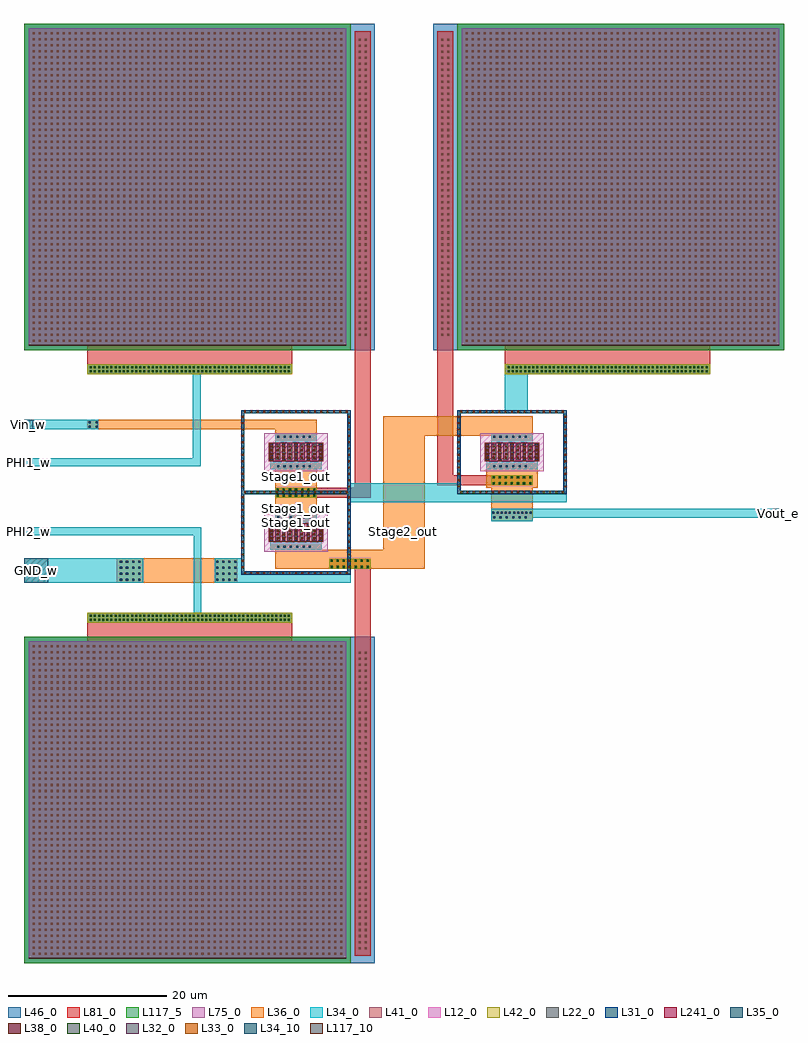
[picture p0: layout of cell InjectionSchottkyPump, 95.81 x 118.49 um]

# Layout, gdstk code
import gdstk
lib = gdstk.Library(unit=1e-6, precision=1e-09)
def R(c, l, rs):  # rectangles x0, y0, x1, y1
    for r in rs: c.add(gdstk.rectangle(r[:2], r[2:], *l))
def A(c, l, x, y, w, h, nx, ny, dx, dy):  # array of equal rectangles
    R(c, l, [(x+i*dx, y+j*dy, x+i*dx+w, y+j*dy+h) for i in range(nx) for j in range(ny)])
def P(c, l, *ps):  # polygons
    for p in ps: c.add(gdstk.Polygon(p, *l))
L12_0 = (12, 0)
L22_0 = (22, 0)
L31_0 = (31, 0)
L32_0 = (32, 0)
L33_0 = (33, 0)
L34_0 = (34, 0)
L34_10 = (34, 10)
L35_0 = (35, 0)
L36_0 = (36, 0)
L38_0 = (38, 0)
L40_0 = (40, 0)
L41_0 = (41, 0)
L42_0 = (42, 0)
L46_0 = (46, 0)
L75_0 = (75, 0)
L81_0 = (81, 0)
L117_5 = (117, 5)
L117_10 = (117, 10)
L241_0 = (241, 0)

sc_diode = lib.new_cell('sc_diode')
R(sc_diode, L12_0, [(-0.76,-1.4,7.28,3.4)])
A(sc_diode, L22_0, 0, 0, 0.36, 2, 5, 1, 1.54, 0)
A(sc_diode, L22_0, 0.64, 0, 0.62, 2, 4, 1, 1.54, 0)
P(sc_diode, L22_0, [(-3.62,-4.26),(-3.62,5.9),(-3.26,5.9),(-3.26,-3.9),(9.78,-3.9),(9.78,5.9),(-3.62,5.9),(-3.62,6.26),(10.14,6.26),(10.14,-4.26)])
P(sc_diode, L31_0, [(-3.65,-4.29),(-3.65,5.87),(-3.23,5.87),(-3.23,-3.87),(9.75,-3.87),(9.75,5.87),(-3.65,5.87),(-3.65,6.29),(10.17,6.29),(10.17,-4.29)])
A(sc_diode, L32_0, -0.03, -0.03, 0.42, 2.06, 5, 1, 1.54, 0)
A(sc_diode, L33_0, 0.07, 0.185, 0.22, 0.22, 9, 4, 0.77, 0.47)
A(sc_diode, L34_0, 0, -0.23, 0.36, 2.23, 5, 1, 1.54, 0)
A(sc_diode, L34_0, 0.64, 0, 0.62, 2.23, 4, 1, 1.54, 0)
R(sc_diode, L34_0, [(0,-0.46,6.52,-0.23), (0.64,2.23,5.88,2.46)])
R(sc_diode, L241_0, [(-0.16,-0.16,6.68,2.16)])

cap_mim = lib.new_cell('cap_mim')
A(cap_mim, L41_0, 0.49, 0.49, 0.26, 0.26, 52, 52, 0.76, 0.76)
R(cap_mim, L46_0, [(-0.6,-0.6,40.6,40.6)])
R(cap_mim, L75_0, [(0,0,40,40)])
R(cap_mim, L81_0, [(0,0,40,40)])
R(cap_mim, L117_5, [(-0.6,-0.6,40.6,40.6)])
R(cap_mim, L117_10, [(0,0,40,0.1)])

injectionschottkypump = lib.new_cell('InjectionSchottkyPump')
A(injectionschottkypump, L33_0, 27.76, 49.12, 0.22, 0.22, 17, 2, 0.8, 20.32)
A(injectionschottkypump, L33_0, 27.47, 49.85, 0.22, 0.22, 1, 12, 0, 0.8)
A(injectionschottkypump, L33_0, 40.87, 49.85, 0.22, 0.22, 1, 12, 0, 0.8)
A(injectionschottkypump, L33_0, 27.47, 60.01, 0.22, 0.22, 1, 12, 0, 0.8)
A(injectionschottkypump, L33_0, 40.87, 60.01, 0.22, 0.22, 1, 12, 0, 0.8)
A(injectionschottkypump, L33_0, 54.7, 60.01, 0.22, 0.22, 1, 12, 0, 0.8)
A(injectionschottkypump, L33_0, 68.1, 60.01, 0.22, 0.22, 1, 12, 0, 0.8)
A(injectionschottkypump, L33_0, 54.99, 69.44, 0.22, 0.22, 17, 1, 0.8, 0)
R(injectionschottkypump, L33_0, [(27.76,59.28,27.98,59.5), (27.76,59.28,27.98,59.5), (28.56,59.28,28.78,59.5), (28.56,59.28,28.78,59.5), (29.36,59.28,29.58,59.5), (29.36,59.28,29.58,59.5), (30.16,59.28,30.38,59.5), (30.16,59.28,30.38,59.5), (30.96,59.28,31.18,59.5), (30.96,59.28,31.18,59.5), (31.76,59.28,31.98,59.5), (31.76,59.28,31.98,59.5), (32.56,59.28,32.78,59.5), (32.56,59.28,32.78,59.5), (33.36,59.28,33.58,59.5), (33.36,59.28,33.58,59.5), (34.16,59.28,34.38,59.5), (34.16,59.28,34.38,59.5), (34.96,59.28,35.18,59.5), (34.96,59.28,35.18,59.5), (35.76,59.28,35.98,59.5), (35.76,59.28,35.98,59.5), (36.56,59.28,36.78,59.5), (36.56,59.28,36.78,59.5), (37.36,59.28,37.58,59.5), (37.36,59.28,37.58,59.5), (38.16,59.28,38.38,59.5), (38.16,59.28,38.38,59.5), (38.96,59.28,39.18,59.5), (38.96,59.28,39.18,59.5), (39.76,59.28,39.98,59.5), (39.76,59.28,39.98,59.5), (40.56,59.28,40.78,59.5), (40.56,59.28,40.78,59.5), (54.99,59.28,55.21,59.5), (54.99,59.28,55.21,59.5), (55.79,59.28,56.01,59.5), (55.79,59.28,56.01,59.5), (56.59,59.28,56.81,59.5), (56.59,59.28,56.81,59.5), (57.39,59.28,57.61,59.5), (57.39,59.28,57.61,59.5), (58.19,59.28,58.41,59.5), (58.19,59.28,58.41,59.5), (58.99,59.28,59.21,59.5), (58.99,59.28,59.21,59.5), (59.79,59.28,60.01,59.5), (59.79,59.28,60.01,59.5), (60.59,59.28,60.81,59.5), (60.59,59.28,60.81,59.5), (61.39,59.28,61.61,59.5), (61.39,59.28,61.61,59.5), (62.19,59.28,62.41,59.5), (62.19,59.28,62.41,59.5), (62.99,59.28,63.21,59.5), (62.99,59.28,63.21,59.5), (63.79,59.28,64.01,59.5), (63.79,59.28,64.01,59.5), (64.59,59.28,64.81,59.5), (64.59,59.28,64.81,59.5), (65.39,59.28,65.61,59.5), (65.39,59.28,65.61,59.5), (66.19,59.28,66.41,59.5), (66.19,59.28,66.41,59.5), (66.99,59.28,67.21,59.5), (66.99,59.28,67.21,59.5), (67.79,59.28,68.01,59.5), (67.79,59.28,68.01,59.5)])
A(injectionschottkypump, L34_0, 7.945, 42.965, 2.47, 1.245, 16, 2, 1.56, 31.315)
A(injectionschottkypump, L34_0, 60.605, 74.28, 2.47, 1.245, 16, 1, 1.56, 0)
R(injectionschottkypump, L34_0, [(21.365,44.18,22.365,55), (0,48.02,15,51.07), (24.01,48.02,27.375,51.07), (27.34,48.02,41.195,49.02), (27.375,48.02,41.195,48.99), (27.375,48.99,41.195,49.02), (27.37,49.02,41.19,49.44), (27.37,49.02,27.79,59.18), (40.77,49.02,41.19,59.6), (31.02,52.17,37.54,52.85), (19.435,54,22.365,55), (31.66,55.77,36.905,56.71), (31.66,55.77,36.905,56.71), (31.66,55.77,36.905,56.71), (31.66,55.77,36.905,56.71), (58.885,55.77,64.13,56.71), (58.885,55.77,64.13,56.71), (58.89,55.77,64.135,56.71), (58.89,55.77,64.135,56.71), (58.89,55.77,64.135,56.71), (58.89,55.77,64.135,56.71), (86.405,56.16,95.795,57.32), (41.095,58.15,54.695,60.545), (41.095,58.15,54.695,60.545), (54.695,58.15,68.415,59.15), (54.695,59.06,68.415,59.18), (27.37,59.18,41.19,59.6), (27.37,59.18,41.19,59.6), (27.37,59.18,27.79,69.34), (40.77,59.18,41.19,69.76), (54.6,59.18,68.42,59.6), (54.6,59.18,68.42,59.6), (54.6,59.18,55.02,69.34), (68,59.18,68.42,69.76), (31.02,62.33,37.54,63.01), (58.25,62.33,64.77,63.01), (19.335,62.7,22.265,63.7), (21.26,63.01,22.265,75.29), (31.66,65.93,36.905,66.87), (31.66,65.93,36.905,66.87), (58.885,65.93,64.13,66.87), (58.89,65.93,64.135,66.87), (58.89,65.93,64.135,66.87), (-0.005,67.37,9.385,68.53), (27.37,69.34,41.19,69.76), (54.6,69.34,68.42,69.76), (60.605,69.7,63.5,69.73), (60.605,69.73,63.495,74.28)])
R(injectionschottkypump, L34_10, [(0,48.02,3.04,51.07), (0,54,1.015,55), (94.505,56.16,95.795,57.32), (94.505,56.16,95.795,57.32), (0,62.7,1.015,63.7), (-0.005,67.37,1.175,68.53), (-0.005,67.37,1.175,68.53)])
A(injectionschottkypump, L35_0, 8.29, 43.185, 0.26, 0.26, 4, 2, 0.52, 0.52)
A(injectionschottkypump, L35_0, 9.85, 43.185, 0.26, 0.26, 4, 2, 0.52, 0.52)
A(injectionschottkypump, L35_0, 11.41, 43.185, 0.26, 0.26, 4, 2, 0.52, 0.52)
A(injectionschottkypump, L35_0, 12.97, 43.185, 0.26, 0.26, 4, 2, 0.52, 0.52)
A(injectionschottkypump, L35_0, 14.53, 43.185, 0.26, 0.26, 4, 2, 0.52, 0.52)
A(injectionschottkypump, L35_0, 16.09, 43.185, 0.26, 0.26, 4, 2, 0.52, 0.52)
A(injectionschottkypump, L35_0, 17.65, 43.185, 0.26, 0.26, 4, 2, 0.52, 0.52)
A(injectionschottkypump, L35_0, 19.21, 43.185, 0.26, 0.26, 4, 2, 0.52, 0.52)
A(injectionschottkypump, L35_0, 20.77, 43.185, 0.26, 0.26, 4, 2, 0.52, 0.52)
A(injectionschottkypump, L35_0, 22.33, 43.185, 0.26, 0.26, 4, 2, 0.52, 0.52)
A(injectionschottkypump, L35_0, 23.89, 43.185, 0.26, 0.26, 4, 2, 0.52, 0.52)
A(injectionschottkypump, L35_0, 25.45, 43.185, 0.26, 0.26, 4, 2, 0.52, 0.52)
A(injectionschottkypump, L35_0, 27.01, 43.185, 0.26, 0.26, 4, 2, 0.52, 0.52)
A(injectionschottkypump, L35_0, 28.57, 43.185, 0.26, 0.26, 4, 2, 0.52, 0.52)
A(injectionschottkypump, L35_0, 30.13, 43.185, 0.26, 0.26, 4, 2, 0.52, 0.52)
A(injectionschottkypump, L35_0, 31.69, 43.185, 0.26, 0.26, 4, 2, 0.52, 0.52)
A(injectionschottkypump, L35_0, 12.09, 48.22, 0.26, 0.26, 4, 4, 0.76, 0.76)
A(injectionschottkypump, L35_0, 24.2, 48.23, 0.26, 0.26, 3, 4, 0.76, 0.76)
A(injectionschottkypump, L35_0, 25.72, 48.23, 0.26, 0.26, 1, 4, 0, 0.76)
A(injectionschottkypump, L35_0, 31.905, 52.39, 0.26, 0.26, 6, 2, 0.8, 10.16)
A(injectionschottkypump, L35_0, 59.045, 56.705, 0.26, 0.26, 10, 1, 0.52, 0)
A(injectionschottkypump, L35_0, 59.135, 62.55, 0.26, 0.26, 6, 2, 0.8, 3.73)
A(injectionschottkypump, L35_0, 8.29, 74.525, 0.26, 0.26, 4, 2, 0.52, 0.52)
A(injectionschottkypump, L35_0, 9.85, 74.525, 0.26, 0.26, 4, 2, 0.52, 0.52)
A(injectionschottkypump, L35_0, 11.41, 74.525, 0.26, 0.26, 4, 2, 0.52, 0.52)
A(injectionschottkypump, L35_0, 12.97, 74.525, 0.26, 0.26, 4, 2, 0.52, 0.52)
A(injectionschottkypump, L35_0, 14.53, 74.525, 0.26, 0.26, 4, 2, 0.52, 0.52)
A(injectionschottkypump, L35_0, 16.09, 74.525, 0.26, 0.26, 4, 2, 0.52, 0.52)
A(injectionschottkypump, L35_0, 17.65, 74.525, 0.26, 0.26, 4, 2, 0.52, 0.52)
A(injectionschottkypump, L35_0, 19.21, 74.525, 0.26, 0.26, 4, 2, 0.52, 0.52)
A(injectionschottkypump, L35_0, 20.77, 74.525, 0.26, 0.26, 4, 2, 0.52, 0.52)
A(injectionschottkypump, L35_0, 22.33, 74.525, 0.26, 0.26, 4, 2, 0.52, 0.52)
A(injectionschottkypump, L35_0, 23.89, 74.525, 0.26, 0.26, 4, 2, 0.52, 0.52)
A(injectionschottkypump, L35_0, 25.45, 74.525, 0.26, 0.26, 4, 2, 0.52, 0.52)
A(injectionschottkypump, L35_0, 27.01, 74.525, 0.26, 0.26, 4, 2, 0.52, 0.52)
A(injectionschottkypump, L35_0, 28.57, 74.525, 0.26, 0.26, 4, 2, 0.52, 0.52)
A(injectionschottkypump, L35_0, 30.13, 74.525, 0.26, 0.26, 4, 2, 0.52, 0.52)
A(injectionschottkypump, L35_0, 31.69, 74.525, 0.26, 0.26, 4, 2, 0.52, 0.52)
A(injectionschottkypump, L35_0, 60.95, 74.525, 0.26, 0.26, 4, 2, 0.52, 0.52)
A(injectionschottkypump, L35_0, 62.51, 74.525, 0.26, 0.26, 4, 2, 0.52, 0.52)
A(injectionschottkypump, L35_0, 64.07, 74.525, 0.26, 0.26, 4, 2, 0.52, 0.52)
A(injectionschottkypump, L35_0, 65.63, 74.525, 0.26, 0.26, 4, 2, 0.52, 0.52)
A(injectionschottkypump, L35_0, 67.19, 74.525, 0.26, 0.26, 4, 2, 0.52, 0.52)
A(injectionschottkypump, L35_0, 68.75, 74.525, 0.26, 0.26, 4, 2, 0.52, 0.52)
A(injectionschottkypump, L35_0, 70.31, 74.525, 0.26, 0.26, 4, 2, 0.52, 0.52)
A(injectionschottkypump, L35_0, 71.87, 74.525, 0.26, 0.26, 4, 2, 0.52, 0.52)
A(injectionschottkypump, L35_0, 73.43, 74.525, 0.26, 0.26, 4, 2, 0.52, 0.52)
A(injectionschottkypump, L35_0, 74.99, 74.525, 0.26, 0.26, 4, 2, 0.52, 0.52)
A(injectionschottkypump, L35_0, 76.55, 74.525, 0.26, 0.26, 4, 2, 0.52, 0.52)
A(injectionschottkypump, L35_0, 78.11, 74.525, 0.26, 0.26, 4, 2, 0.52, 0.52)
A(injectionschottkypump, L35_0, 79.67, 74.525, 0.26, 0.26, 4, 2, 0.52, 0.52)
A(injectionschottkypump, L35_0, 81.23, 74.525, 0.26, 0.26, 4, 2, 0.52, 0.52)
A(injectionschottkypump, L35_0, 82.79, 74.525, 0.26, 0.26, 4, 2, 0.52, 0.52)
A(injectionschottkypump, L35_0, 84.35, 74.525, 0.26, 0.26, 4, 2, 0.52, 0.52)
R(injectionschottkypump, L35_0, [(8.29,43.705,8.55,43.965), (9.85,43.705,10.11,43.965), (11.41,43.705,11.67,43.965), (12.97,43.705,13.23,43.965), (14.53,43.705,14.79,43.965), (16.09,43.705,16.35,43.965), (17.65,43.705,17.91,43.965), (19.21,43.705,19.47,43.965), (20.77,43.705,21.03,43.965), (22.33,43.705,22.59,43.965), (23.89,43.705,24.15,43.965), (25.45,43.705,25.71,43.965), (27.01,43.705,27.27,43.965), (28.57,43.705,28.83,43.965), (30.13,43.705,30.39,43.965), (31.69,43.705,31.95,43.965), (26.48,48.23,26.74,48.49), (26.48,48.23,26.74,48.49), (26.48,48.99,26.74,49.25), (26.48,48.99,26.74,49.25), (26.48,49.75,26.74,50.01), (26.48,49.75,26.74,50.01), (26.48,50.51,26.74,50.77), (26.48,50.51,26.74,50.77), (31.91,56.12,32.17,56.38), (31.91,56.12,32.17,56.38), (32.71,56.12,32.97,56.38), (32.71,56.12,32.97,56.38), (33.51,56.12,33.77,56.38), (33.51,56.12,33.77,56.38), (34.31,56.12,34.57,56.38), (34.31,56.12,34.57,56.38), (35.11,56.12,35.37,56.38), (35.11,56.12,35.37,56.38), (35.91,56.12,36.17,56.38), (35.91,56.12,36.17,56.38), (59.135,56.12,59.395,56.38), (59.135,56.12,59.395,56.38), (59.935,56.12,60.195,56.38), (59.935,56.12,60.195,56.38), (60.735,56.12,60.995,56.38), (60.735,56.12,60.995,56.38), (61.535,56.12,61.795,56.38), (61.535,56.12,61.795,56.38), (62.335,56.12,62.595,56.38), (62.335,56.12,62.595,56.38), (63.135,56.12,63.395,56.38), (63.135,56.12,63.395,56.38), (31.91,66.28,32.17,66.54), (31.91,66.28,32.17,66.54), (32.71,66.28,32.97,66.54), (32.71,66.28,32.97,66.54), (33.51,66.28,33.77,66.54), (33.51,66.28,33.77,66.54), (34.31,66.28,34.57,66.54), (34.31,66.28,34.57,66.54), (35.11,66.28,35.37,66.54), (35.11,66.28,35.37,66.54), (35.91,66.28,36.17,66.54), (35.91,66.28,36.17,66.54), (8.175,67.53,8.435,67.79), (9.015,67.53,9.275,67.79), (8.175,68.07,8.435,68.33), (9.015,68.07,9.275,68.33), (8.29,74.525,8.55,74.785), (9.85,74.525,10.11,74.785), (11.41,74.525,11.67,74.785), (12.97,74.525,13.23,74.785), (14.53,74.525,14.79,74.785), (16.09,74.525,16.35,74.785), (17.65,74.525,17.91,74.785), (19.21,74.525,19.47,74.785), (20.77,74.525,21.03,74.785), (22.33,74.525,22.59,74.785), (23.89,74.525,24.15,74.785), (25.45,74.525,25.71,74.785), (27.01,74.525,27.27,74.785), (28.57,74.525,28.83,74.785), (30.13,74.525,30.39,74.785), (31.69,74.525,31.95,74.785), (60.95,74.525,61.21,74.785), (62.51,74.525,62.77,74.785), (64.07,74.525,64.33,74.785), (65.63,74.525,65.89,74.785), (67.19,74.525,67.45,74.785), (68.75,74.525,69.01,74.785), (70.31,74.525,70.57,74.785), (71.87,74.525,72.13,74.785), (73.43,74.525,73.69,74.785), (74.99,74.525,75.25,74.785), (76.55,74.525,76.81,74.785), (78.11,74.525,78.37,74.785), (79.67,74.525,79.93,74.785), (81.23,74.525,81.49,74.785), (82.79,74.525,83.05,74.785), (84.35,74.525,84.61,74.785)])
A(injectionschottkypump, L36_0, 7.945, 42.965, 2.47, 1.245, 16, 2, 1.56, 31.315)
A(injectionschottkypump, L36_0, 60.605, 74.28, 2.47, 1.245, 16, 1, 1.56, 0)
R(injectionschottkypump, L36_0, [(11.68,48.02,26.9,51.07), (31.665,49.73,36.905,52.17), (31.665,49.73,36.905,52.17), (36.905,49.73,45.275,52.17), (36.905,49.73,45.275,52.17), (45.275,49.73,50.515,68.99), (45.275,49.73,50.515,68.99), (31.02,52.17,37.54,52.85), (31.665,55.77,36.9,56.69), (31.665,55.77,36.9,56.69), (58.89,55.77,64.125,56.69), (58.89,55.77,64.125,56.69), (58.885,56.16,64.125,60.28), (31.665,56.39,36.905,62.33), (31.665,56.39,36.905,62.33), (58.885,56.39,64.125,62.33), (58.245,59.995,64.765,62.33), (31.02,62.33,37.54,63.01), (58.25,62.33,64.77,63.01), (31.665,65.93,36.9,66.85), (31.665,65.93,36.9,66.85), (58.89,65.93,64.125,66.85), (31.665,66.55,36.905,68.53), (31.665,66.55,36.905,68.53), (50.515,66.55,58.885,68.99), (50.515,66.55,58.885,68.99), (58.885,66.55,64.125,68.99), (58.885,66.55,64.125,68.99), (7.995,67.37,31.665,68.53)])
A(injectionschottkypump, L38_0, 8.29, 43.185, 0.26, 0.26, 4, 2, 0.52, 0.52)
A(injectionschottkypump, L38_0, 9.85, 43.185, 0.26, 0.26, 4, 2, 0.52, 0.52)
A(injectionschottkypump, L38_0, 11.41, 43.185, 0.26, 0.26, 4, 2, 0.52, 0.52)
A(injectionschottkypump, L38_0, 12.97, 43.185, 0.26, 0.26, 4, 2, 0.52, 0.52)
A(injectionschottkypump, L38_0, 14.53, 43.185, 0.26, 0.26, 4, 2, 0.52, 0.52)
A(injectionschottkypump, L38_0, 16.09, 43.185, 0.26, 0.26, 4, 2, 0.52, 0.52)
A(injectionschottkypump, L38_0, 17.65, 43.185, 0.26, 0.26, 4, 2, 0.52, 0.52)
A(injectionschottkypump, L38_0, 19.21, 43.185, 0.26, 0.26, 4, 2, 0.52, 0.52)
A(injectionschottkypump, L38_0, 20.77, 43.185, 0.26, 0.26, 4, 2, 0.52, 0.52)
A(injectionschottkypump, L38_0, 22.33, 43.185, 0.26, 0.26, 4, 2, 0.52, 0.52)
A(injectionschottkypump, L38_0, 23.89, 43.185, 0.26, 0.26, 4, 2, 0.52, 0.52)
A(injectionschottkypump, L38_0, 25.45, 43.185, 0.26, 0.26, 4, 2, 0.52, 0.52)
A(injectionschottkypump, L38_0, 27.01, 43.185, 0.26, 0.26, 4, 2, 0.52, 0.52)
A(injectionschottkypump, L38_0, 28.57, 43.185, 0.26, 0.26, 4, 2, 0.52, 0.52)
A(injectionschottkypump, L38_0, 30.13, 43.185, 0.26, 0.26, 4, 2, 0.52, 0.52)
A(injectionschottkypump, L38_0, 31.69, 43.185, 0.26, 0.26, 4, 2, 0.52, 0.52)
A(injectionschottkypump, L38_0, 38.665, 49.85, 0.26, 0.26, 7, 2, 0.76, 0.76)
A(injectionschottkypump, L38_0, 31.875, 58.85, 0.26, 0.26, 7, 2, 0.76, 0.76)
A(injectionschottkypump, L38_0, 59.095, 60.4, 0.26, 0.26, 7, 2, 0.76, 0.76)
A(injectionschottkypump, L38_0, 8.29, 74.525, 0.26, 0.26, 4, 2, 0.52, 0.52)
A(injectionschottkypump, L38_0, 9.85, 74.525, 0.26, 0.26, 4, 2, 0.52, 0.52)
A(injectionschottkypump, L38_0, 11.41, 74.525, 0.26, 0.26, 4, 2, 0.52, 0.52)
A(injectionschottkypump, L38_0, 12.97, 74.525, 0.26, 0.26, 4, 2, 0.52, 0.52)
A(injectionschottkypump, L38_0, 14.53, 74.525, 0.26, 0.26, 4, 2, 0.52, 0.52)
A(injectionschottkypump, L38_0, 16.09, 74.525, 0.26, 0.26, 4, 2, 0.52, 0.52)
A(injectionschottkypump, L38_0, 17.65, 74.525, 0.26, 0.26, 4, 2, 0.52, 0.52)
A(injectionschottkypump, L38_0, 19.21, 74.525, 0.26, 0.26, 4, 2, 0.52, 0.52)
A(injectionschottkypump, L38_0, 20.77, 74.525, 0.26, 0.26, 4, 2, 0.52, 0.52)
A(injectionschottkypump, L38_0, 22.33, 74.525, 0.26, 0.26, 4, 2, 0.52, 0.52)
A(injectionschottkypump, L38_0, 23.89, 74.525, 0.26, 0.26, 4, 2, 0.52, 0.52)
A(injectionschottkypump, L38_0, 25.45, 74.525, 0.26, 0.26, 4, 2, 0.52, 0.52)
A(injectionschottkypump, L38_0, 27.01, 74.525, 0.26, 0.26, 4, 2, 0.52, 0.52)
A(injectionschottkypump, L38_0, 28.57, 74.525, 0.26, 0.26, 4, 2, 0.52, 0.52)
A(injectionschottkypump, L38_0, 30.13, 74.525, 0.26, 0.26, 4, 2, 0.52, 0.52)
A(injectionschottkypump, L38_0, 31.69, 74.525, 0.26, 0.26, 4, 2, 0.52, 0.52)
A(injectionschottkypump, L38_0, 60.95, 74.525, 0.26, 0.26, 4, 2, 0.52, 0.52)
A(injectionschottkypump, L38_0, 62.51, 74.525, 0.26, 0.26, 4, 2, 0.52, 0.52)
A(injectionschottkypump, L38_0, 64.07, 74.525, 0.26, 0.26, 4, 2, 0.52, 0.52)
A(injectionschottkypump, L38_0, 65.63, 74.525, 0.26, 0.26, 4, 2, 0.52, 0.52)
A(injectionschottkypump, L38_0, 67.19, 74.525, 0.26, 0.26, 4, 2, 0.52, 0.52)
A(injectionschottkypump, L38_0, 68.75, 74.525, 0.26, 0.26, 4, 2, 0.52, 0.52)
A(injectionschottkypump, L38_0, 70.31, 74.525, 0.26, 0.26, 4, 2, 0.52, 0.52)
A(injectionschottkypump, L38_0, 71.87, 74.525, 0.26, 0.26, 4, 2, 0.52, 0.52)
A(injectionschottkypump, L38_0, 73.43, 74.525, 0.26, 0.26, 4, 2, 0.52, 0.52)
A(injectionschottkypump, L38_0, 74.99, 74.525, 0.26, 0.26, 4, 2, 0.52, 0.52)
A(injectionschottkypump, L38_0, 76.55, 74.525, 0.26, 0.26, 4, 2, 0.52, 0.52)
A(injectionschottkypump, L38_0, 78.11, 74.525, 0.26, 0.26, 4, 2, 0.52, 0.52)
A(injectionschottkypump, L38_0, 79.67, 74.525, 0.26, 0.26, 4, 2, 0.52, 0.52)
A(injectionschottkypump, L38_0, 81.23, 74.525, 0.26, 0.26, 4, 2, 0.52, 0.52)
A(injectionschottkypump, L38_0, 82.79, 74.525, 0.26, 0.26, 4, 2, 0.52, 0.52)
A(injectionschottkypump, L38_0, 84.35, 74.525, 0.26, 0.26, 4, 2, 0.52, 0.52)
A(injectionschottkypump, L40_0, 8.29, 43.185, 0.26, 0.26, 4, 2, 0.52, 0.52)
A(injectionschottkypump, L40_0, 9.85, 43.185, 0.26, 0.26, 4, 2, 0.52, 0.52)
A(injectionschottkypump, L40_0, 11.41, 43.185, 0.26, 0.26, 4, 2, 0.52, 0.52)
A(injectionschottkypump, L40_0, 12.97, 43.185, 0.26, 0.26, 4, 2, 0.52, 0.52)
A(injectionschottkypump, L40_0, 14.53, 43.185, 0.26, 0.26, 4, 2, 0.52, 0.52)
A(injectionschottkypump, L40_0, 16.09, 43.185, 0.26, 0.26, 4, 2, 0.52, 0.52)
A(injectionschottkypump, L40_0, 17.65, 43.185, 0.26, 0.26, 4, 2, 0.52, 0.52)
A(injectionschottkypump, L40_0, 19.21, 43.185, 0.26, 0.26, 4, 2, 0.52, 0.52)
A(injectionschottkypump, L40_0, 20.77, 43.185, 0.26, 0.26, 4, 2, 0.52, 0.52)
A(injectionschottkypump, L40_0, 22.33, 43.185, 0.26, 0.26, 4, 2, 0.52, 0.52)
A(injectionschottkypump, L40_0, 23.89, 43.185, 0.26, 0.26, 4, 2, 0.52, 0.52)
A(injectionschottkypump, L40_0, 25.45, 43.185, 0.26, 0.26, 4, 2, 0.52, 0.52)
A(injectionschottkypump, L40_0, 27.01, 43.185, 0.26, 0.26, 4, 2, 0.52, 0.52)
A(injectionschottkypump, L40_0, 28.57, 43.185, 0.26, 0.26, 4, 2, 0.52, 0.52)
A(injectionschottkypump, L40_0, 30.13, 43.185, 0.26, 0.26, 4, 2, 0.52, 0.52)
A(injectionschottkypump, L40_0, 31.69, 43.185, 0.26, 0.26, 4, 2, 0.52, 0.52)
A(injectionschottkypump, L40_0, 38.665, 49.85, 0.26, 0.26, 7, 2, 0.76, 0.76)
A(injectionschottkypump, L40_0, 31.875, 58.85, 0.26, 0.26, 7, 2, 0.76, 0.76)
A(injectionschottkypump, L40_0, 59.095, 60.4, 0.26, 0.26, 7, 2, 0.76, 0.76)
A(injectionschottkypump, L40_0, 8.29, 74.525, 0.26, 0.26, 4, 2, 0.52, 0.52)
A(injectionschottkypump, L40_0, 9.85, 74.525, 0.26, 0.26, 4, 2, 0.52, 0.52)
A(injectionschottkypump, L40_0, 11.41, 74.525, 0.26, 0.26, 4, 2, 0.52, 0.52)
A(injectionschottkypump, L40_0, 12.97, 74.525, 0.26, 0.26, 4, 2, 0.52, 0.52)
A(injectionschottkypump, L40_0, 14.53, 74.525, 0.26, 0.26, 4, 2, 0.52, 0.52)
A(injectionschottkypump, L40_0, 16.09, 74.525, 0.26, 0.26, 4, 2, 0.52, 0.52)
A(injectionschottkypump, L40_0, 17.65, 74.525, 0.26, 0.26, 4, 2, 0.52, 0.52)
A(injectionschottkypump, L40_0, 19.21, 74.525, 0.26, 0.26, 4, 2, 0.52, 0.52)
A(injectionschottkypump, L40_0, 20.77, 74.525, 0.26, 0.26, 4, 2, 0.52, 0.52)
A(injectionschottkypump, L40_0, 22.33, 74.525, 0.26, 0.26, 4, 2, 0.52, 0.52)
A(injectionschottkypump, L40_0, 23.89, 74.525, 0.26, 0.26, 4, 2, 0.52, 0.52)
A(injectionschottkypump, L40_0, 25.45, 74.525, 0.26, 0.26, 4, 2, 0.52, 0.52)
A(injectionschottkypump, L40_0, 27.01, 74.525, 0.26, 0.26, 4, 2, 0.52, 0.52)
A(injectionschottkypump, L40_0, 28.57, 74.525, 0.26, 0.26, 4, 2, 0.52, 0.52)
A(injectionschottkypump, L40_0, 30.13, 74.525, 0.26, 0.26, 4, 2, 0.52, 0.52)
A(injectionschottkypump, L40_0, 31.69, 74.525, 0.26, 0.26, 4, 2, 0.52, 0.52)
A(injectionschottkypump, L40_0, 60.95, 74.525, 0.26, 0.26, 4, 2, 0.52, 0.52)
A(injectionschottkypump, L40_0, 62.51, 74.525, 0.26, 0.26, 4, 2, 0.52, 0.52)
A(injectionschottkypump, L40_0, 64.07, 74.525, 0.26, 0.26, 4, 2, 0.52, 0.52)
A(injectionschottkypump, L40_0, 65.63, 74.525, 0.26, 0.26, 4, 2, 0.52, 0.52)
A(injectionschottkypump, L40_0, 67.19, 74.525, 0.26, 0.26, 4, 2, 0.52, 0.52)
A(injectionschottkypump, L40_0, 68.75, 74.525, 0.26, 0.26, 4, 2, 0.52, 0.52)
A(injectionschottkypump, L40_0, 70.31, 74.525, 0.26, 0.26, 4, 2, 0.52, 0.52)
A(injectionschottkypump, L40_0, 71.87, 74.525, 0.26, 0.26, 4, 2, 0.52, 0.52)
A(injectionschottkypump, L40_0, 73.43, 74.525, 0.26, 0.26, 4, 2, 0.52, 0.52)
A(injectionschottkypump, L40_0, 74.99, 74.525, 0.26, 0.26, 4, 2, 0.52, 0.52)
A(injectionschottkypump, L40_0, 76.55, 74.525, 0.26, 0.26, 4, 2, 0.52, 0.52)
A(injectionschottkypump, L40_0, 78.11, 74.525, 0.26, 0.26, 4, 2, 0.52, 0.52)
A(injectionschottkypump, L40_0, 79.67, 74.525, 0.26, 0.26, 4, 2, 0.52, 0.52)
A(injectionschottkypump, L40_0, 81.23, 74.525, 0.26, 0.26, 4, 2, 0.52, 0.52)
A(injectionschottkypump, L40_0, 82.79, 74.525, 0.26, 0.26, 4, 2, 0.52, 0.52)
A(injectionschottkypump, L40_0, 84.35, 74.525, 0.26, 0.26, 4, 2, 0.52, 0.52)
A(injectionschottkypump, L41_0, 42.19, 1.81, 0.26, 0.26, 1, 50, 0, 0.76)
A(injectionschottkypump, L41_0, 42.95, 1.81, 0.26, 0.26, 1, 50, 0, 0.76)
A(injectionschottkypump, L41_0, 8.29, 43.185, 0.26, 0.26, 4, 2, 0.52, 0.52)
A(injectionschottkypump, L41_0, 9.85, 43.185, 0.26, 0.26, 4, 2, 0.52, 0.52)
A(injectionschottkypump, L41_0, 11.41, 43.185, 0.26, 0.26, 4, 2, 0.52, 0.52)
A(injectionschottkypump, L41_0, 12.97, 43.185, 0.26, 0.26, 4, 2, 0.52, 0.52)
A(injectionschottkypump, L41_0, 14.53, 43.185, 0.26, 0.26, 4, 2, 0.52, 0.52)
A(injectionschottkypump, L41_0, 16.09, 43.185, 0.26, 0.26, 4, 2, 0.52, 0.52)
A(injectionschottkypump, L41_0, 17.65, 43.185, 0.26, 0.26, 4, 2, 0.52, 0.52)
A(injectionschottkypump, L41_0, 19.21, 43.185, 0.26, 0.26, 4, 2, 0.52, 0.52)
A(injectionschottkypump, L41_0, 20.77, 43.185, 0.26, 0.26, 4, 2, 0.52, 0.52)
A(injectionschottkypump, L41_0, 22.33, 43.185, 0.26, 0.26, 4, 2, 0.52, 0.52)
A(injectionschottkypump, L41_0, 23.89, 43.185, 0.26, 0.26, 4, 2, 0.52, 0.52)
A(injectionschottkypump, L41_0, 25.45, 43.185, 0.26, 0.26, 4, 2, 0.52, 0.52)
A(injectionschottkypump, L41_0, 27.01, 43.185, 0.26, 0.26, 4, 2, 0.52, 0.52)
A(injectionschottkypump, L41_0, 28.57, 43.185, 0.26, 0.26, 4, 2, 0.52, 0.52)
A(injectionschottkypump, L41_0, 30.13, 43.185, 0.26, 0.26, 4, 2, 0.52, 0.52)
A(injectionschottkypump, L41_0, 31.69, 43.185, 0.26, 0.26, 4, 2, 0.52, 0.52)
A(injectionschottkypump, L41_0, 38.665, 49.85, 0.26, 0.26, 7, 2, 0.76, 0.76)
A(injectionschottkypump, L41_0, 31.875, 58.85, 0.26, 0.26, 7, 2, 0.76, 0.76)
A(injectionschottkypump, L41_0, 59.095, 60.4, 0.26, 0.26, 7, 2, 0.76, 0.76)
A(injectionschottkypump, L41_0, 8.29, 74.525, 0.26, 0.26, 4, 2, 0.52, 0.52)
A(injectionschottkypump, L41_0, 9.85, 74.525, 0.26, 0.26, 4, 2, 0.52, 0.52)
A(injectionschottkypump, L41_0, 11.41, 74.525, 0.26, 0.26, 4, 2, 0.52, 0.52)
A(injectionschottkypump, L41_0, 12.97, 74.525, 0.26, 0.26, 4, 2, 0.52, 0.52)
A(injectionschottkypump, L41_0, 14.53, 74.525, 0.26, 0.26, 4, 2, 0.52, 0.52)
A(injectionschottkypump, L41_0, 16.09, 74.525, 0.26, 0.26, 4, 2, 0.52, 0.52)
A(injectionschottkypump, L41_0, 17.65, 74.525, 0.26, 0.26, 4, 2, 0.52, 0.52)
A(injectionschottkypump, L41_0, 19.21, 74.525, 0.26, 0.26, 4, 2, 0.52, 0.52)
A(injectionschottkypump, L41_0, 20.77, 74.525, 0.26, 0.26, 4, 2, 0.52, 0.52)
A(injectionschottkypump, L41_0, 22.33, 74.525, 0.26, 0.26, 4, 2, 0.52, 0.52)
A(injectionschottkypump, L41_0, 23.89, 74.525, 0.26, 0.26, 4, 2, 0.52, 0.52)
A(injectionschottkypump, L41_0, 25.45, 74.525, 0.26, 0.26, 4, 2, 0.52, 0.52)
A(injectionschottkypump, L41_0, 27.01, 74.525, 0.26, 0.26, 4, 2, 0.52, 0.52)
A(injectionschottkypump, L41_0, 28.57, 74.525, 0.26, 0.26, 4, 2, 0.52, 0.52)
A(injectionschottkypump, L41_0, 30.13, 74.525, 0.26, 0.26, 4, 2, 0.52, 0.52)
A(injectionschottkypump, L41_0, 31.69, 74.525, 0.26, 0.26, 4, 2, 0.52, 0.52)
A(injectionschottkypump, L41_0, 60.95, 74.525, 0.26, 0.26, 4, 2, 0.52, 0.52)
A(injectionschottkypump, L41_0, 62.51, 74.525, 0.26, 0.26, 4, 2, 0.52, 0.52)
A(injectionschottkypump, L41_0, 64.07, 74.525, 0.26, 0.26, 4, 2, 0.52, 0.52)
A(injectionschottkypump, L41_0, 65.63, 74.525, 0.26, 0.26, 4, 2, 0.52, 0.52)
A(injectionschottkypump, L41_0, 67.19, 74.525, 0.26, 0.26, 4, 2, 0.52, 0.52)
A(injectionschottkypump, L41_0, 68.75, 74.525, 0.26, 0.26, 4, 2, 0.52, 0.52)
A(injectionschottkypump, L41_0, 70.31, 74.525, 0.26, 0.26, 4, 2, 0.52, 0.52)
A(injectionschottkypump, L41_0, 71.87, 74.525, 0.26, 0.26, 4, 2, 0.52, 0.52)
A(injectionschottkypump, L41_0, 73.43, 74.525, 0.26, 0.26, 4, 2, 0.52, 0.52)
A(injectionschottkypump, L41_0, 74.99, 74.525, 0.26, 0.26, 4, 2, 0.52, 0.52)
A(injectionschottkypump, L41_0, 76.55, 74.525, 0.26, 0.26, 4, 2, 0.52, 0.52)
A(injectionschottkypump, L41_0, 78.11, 74.525, 0.26, 0.26, 4, 2, 0.52, 0.52)
A(injectionschottkypump, L41_0, 79.67, 74.525, 0.26, 0.26, 4, 2, 0.52, 0.52)
A(injectionschottkypump, L41_0, 81.23, 74.525, 0.26, 0.26, 4, 2, 0.52, 0.52)
A(injectionschottkypump, L41_0, 82.79, 74.525, 0.26, 0.26, 4, 2, 0.52, 0.52)
A(injectionschottkypump, L41_0, 84.35, 74.525, 0.26, 0.26, 4, 2, 0.52, 0.52)
A(injectionschottkypump, L41_0, 42.19, 79.1, 0.26, 0.26, 1, 50, 0, 0.76)
A(injectionschottkypump, L41_0, 42.95, 79.1, 0.26, 0.26, 1, 50, 0, 0.76)
A(injectionschottkypump, L41_0, 52.59, 79.1, 0.26, 0.26, 1, 50, 0, 0.76)
A(injectionschottkypump, L41_0, 53.35, 79.1, 0.26, 0.26, 1, 50, 0, 0.76)
A(injectionschottkypump, L42_0, 7.945, 42.965, 2.47, 1.245, 16, 2, 1.56, 31.315)
A(injectionschottkypump, L42_0, 60.605, 74.28, 2.47, 1.245, 16, 1, 1.56, 0)
R(injectionschottkypump, L42_0, [(38.455,49.73,43.695,50.99), (31.665,58.73,36.905,59.99), (58.885,60.28,64.125,61.54)])
A(injectionschottkypump, L46_0, 7.945, 42.965, 2.47, 1.245, 16, 2, 1.56, 31.315)
A(injectionschottkypump, L46_0, 60.605, 74.28, 2.47, 1.245, 16, 1, 1.56, 0)
R(injectionschottkypump, L46_0, [(41.2,0,44.2,41.2), (38.455,49.73,43.695,50.99), (31.665,58.73,36.905,59.99), (58.885,60.28,64.125,61.54), (41.2,77.29,44.2,118.49), (51.6,77.29,54.6,118.49)])
A(injectionschottkypump, L81_0, 7.945, 42.965, 2.47, 1.245, 16, 2, 1.56, 31.315)
A(injectionschottkypump, L81_0, 60.605, 74.28, 2.47, 1.245, 16, 1, 1.56, 0)
R(injectionschottkypump, L81_0, [(41.7,1,43.7,40.2), (7.945,40.6,33.815,42.965), (38.455,49.73,43.695,50.99), (31.665,58.73,36.905,59.99), (36.905,58.73,43.7,59.99), (54.1,60.28,58.885,61.54), (58.885,60.28,64.125,61.54), (7.945,75.525,33.815,77.89), (60.605,75.525,86.475,77.89), (41.7,78.29,43.7,117.49), (52.1,78.29,54.1,117.49)])
injectionschottkypump.add(gdstk.FlexPath([(19.435,54.5),(0,54.5)], 1, ends="flush", simple_path=True, layer=34, datatype=0))  # L34_0
injectionschottkypump.add(gdstk.FlexPath([(19.335,63.2),(0,63.2)], 1, ends="flush", simple_path=True, layer=34, datatype=0))  # L34_0
injectionschottkypump.add(gdstk.FlexPath([(86.405,56.74),(58.885,56.74)], 1.16, ends="flush", simple_path=True, layer=34, datatype=0))  # L34_0
injectionschottkypump.add(gdstk.FlexPath([(42.7,78.29),(42.7,58.74)], 2, ends="flush", simple_path=True, layer=81, datatype=0))  # L81_0
injectionschottkypump.add(gdstk.FlexPath([(42.7,40.2),(42.7,49.74),(42.7,49.74),(42.7,49.74),(42.7,49.74)], 2, ends="flush", simple_path=True, layer=81, datatype=0))  # L81_0
injectionschottkypump.add(gdstk.FlexPath([(53.1,78.29),(53.1,60.28)], 2, ends="flush", simple_path=True, layer=81, datatype=0))  # L81_0
injectionschottkypump.add(gdstk.Reference(sc_diode, (31.02,63.47)))
injectionschottkypump.add(gdstk.Reference(sc_diode, (31.02,53.31)))
injectionschottkypump.add(gdstk.Reference(sc_diode, (58.25,63.47)))
injectionschottkypump.add(gdstk.Reference(cap_mim, (55.2,77.89)))
injectionschottkypump.add(gdstk.Reference(cap_mim, (0.6,77.89)))
injectionschottkypump.add(gdstk.Reference(cap_mim, (0.6,0.6)))
injectionschottkypump.add(gdstk.Reference(sc_diode, (31.02,53.31)))
injectionschottkypump.add(gdstk.Reference(sc_diode, (58.25,63.47)))
injectionschottkypump.add(gdstk.Label('Stage1_out', (34.402,55.563), layer=34, texttype=10))
injectionschottkypump.add(gdstk.Label('PHI2_w', (0.508,54.5), layer=34, texttype=10))
injectionschottkypump.add(gdstk.Label('PHI1_w', (0.508,63.18), layer=34, texttype=10))
injectionschottkypump.add(gdstk.Label('GND_w', (1.52,49.545), layer=34, texttype=10))
injectionschottkypump.add(gdstk.Label('Vin_w', (0.588,67.947), layer=34, texttype=10))
injectionschottkypump.add(gdstk.Label('Vout_e', (95.153,56.735), layer=34, texttype=10))
injectionschottkypump.add(gdstk.Label('Vin_w', (0.588,67.947), layer=34, texttype=10))
injectionschottkypump.add(gdstk.Label('Vout_e', (95.153,56.735), layer=34, texttype=10))
injectionschottkypump.add(gdstk.Label('Stage1_out', (34.343,61.35), layer=36, texttype=10))
injectionschottkypump.add(gdstk.Label('Stage2_out', (47.816,54.505), layer=36, texttype=10))
injectionschottkypump.add(gdstk.Label('Stage1_out', (34.406,57.373), layer=36, texttype=10))

lib.write_gds('InjectionSchottkyPump.gds')
